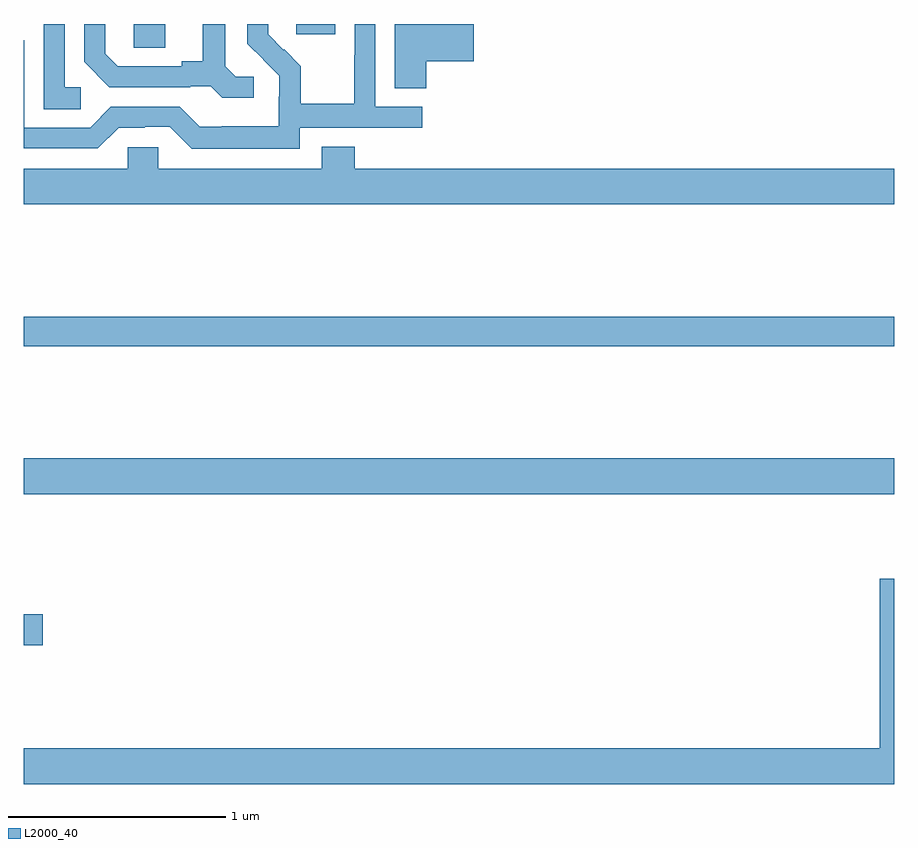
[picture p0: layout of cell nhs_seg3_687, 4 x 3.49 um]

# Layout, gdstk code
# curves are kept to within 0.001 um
import gdstk
lib = gdstk.Library(unit=1e-6, precision=1e-09)
def R(c, l, rs):  # rectangles x0, y0, x1, y1
    for r in rs: c.add(gdstk.rectangle(r[:2], r[2:], *l))
def P(c, l, *ps):  # polygons
    for p in ps: c.add(gdstk.Polygon(p, *l))
L2000_40 = (2000, 40)

nhs_seg3_687 = lib.new_cell('nhs_seg3_687')
R(nhs_seg3_687, L2000_40, [(145,709.546,145.087,709.688), (145,710.24,149,710.404), (145,710.92,149,711.056), (145.506,712.291,145.651,712.4), (146.252,712.353,146.431,712.4)])
P(nhs_seg3_687, L2000_40, [(146.268,711.924),(146.83,711.924),(146.83,712.02),(146.616,712.02),(146.616,712.4),(146.52,712.4),(146.52,712.256),(146.518,712.256),(146.518,712.033),(146.273,712.033),(146.273,712.207),(146.196,712.284),(146.193,712.281),(146.123,712.352),(146.123,712.4),(146.028,712.4),(146.028,712.31),(146.174,712.162),(146.174,712.065),(146.172,712.065),(146.172,711.931),(145.909,711.931),(145.909,711.927),(145.809,711.927),(145.716,712.02),(145.401,712.02),(145.305,711.924),(145.002,711.924),(145.002,712.326),(145,712.326),(145,711.828),(145.341,711.828),(145.437,711.924),(145.556,711.924),(145.556,711.927),(145.671,711.927),(145.771,711.827),(146.268,711.827)],
  [(146.056,712.158),(145.974,712.158),(145.927,712.205),(145.927,712.4),(145.823,712.4),(145.823,712.229),(145.727,712.229),(145.727,712.206),(145.432,712.206),(145.375,712.263),(145.375,712.4),(145.278,712.4),(145.278,712.226),(145.394,712.11),(145.766,712.11),(145.766,712.113),(145.86,712.113),(145.912,712.061),(146.056,712.061)],
  [(145.261,712.11),(145.188,712.11),(145.188,712.4),(145.092,712.4),(145.092,712.009),(145.261,712.009)],
  [(146.849,712.229),(147.067,712.229),(147.067,712.4),(146.705,712.4),(146.705,712.105),(146.849,712.105)],
  [(149,711.736),(146.522,711.736),(146.522,711.835),(146.369,711.835),(146.369,711.736),(145.617,711.736),(145.617,711.834),(145.479,711.834),(145.479,711.736),(145,711.736),(145,711.572),(149,711.572)],
  [(149,709.852),(148.934,709.852),(148.934,709.072),(145,709.072),(145,708.908),(149,708.908)])

lib.write_gds('nhs_seg3_687.gds')
